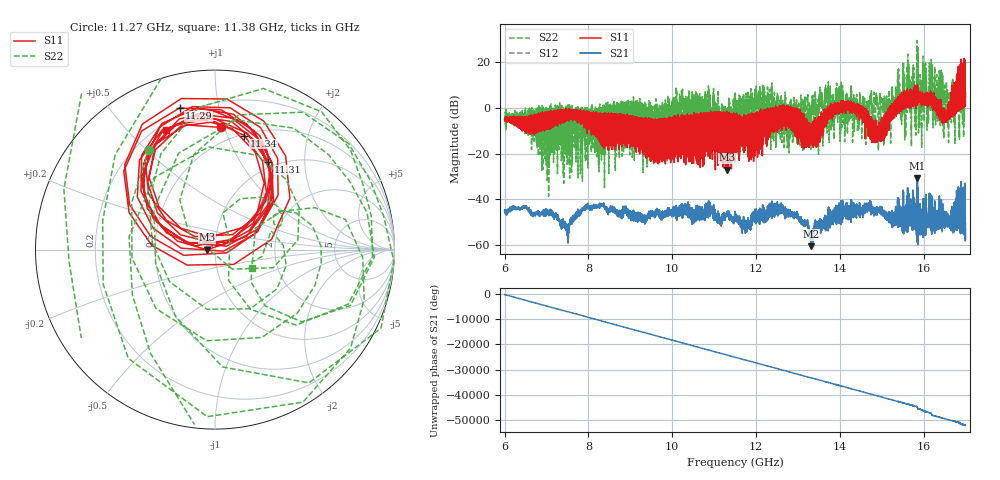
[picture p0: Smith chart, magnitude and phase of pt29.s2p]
#  HZ  S  RI  R  50.00
! Rohde & Schwarz Vector Network Analyzer
! Rohde-Schwarz,ZNA67-2Port,1332450062101215,3.01
! Created: UTC 10/27/2026, 1:50:51 PM
! freq[Hz]  re:S11  im:S11  re:S21  im:S21  re:S12  im:S12  re:S22  im:S22
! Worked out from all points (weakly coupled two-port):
!   11000 points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, 6 GHz to 17 GHz, reference 50 ohm
!   highest |S21| = -30.76 dB at 15.85 GHz (marker M1); lowest = -60.4 dB at 13.31 GHz (marker M2)
!   lowest |S11| = -27.0 dB at 11.32 GHz (marker M3), VSWR 1.09, Z = 45.7 - j0.0846 ohm
!   |S11| at or under -10 dB: 14.87578 GHz to 14.89112 GHz (15.33 MHz wide, 0.103 % of centre); 14.8976 GHz to 14.91292 GHz (15.32 MHz wide, 0.103 % of centre); 14.91646 GHz to 14.92357 GHz (7.11 MHz wide, 0.0477 % of centre) (the widest 3 of 498)
!   |S22| runs from -38.6 to 29.6 dB; largest |S21 - S12| = 0.02
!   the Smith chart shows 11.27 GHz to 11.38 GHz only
!   S11 on the Smith chart (normalised r, x): 11.27 GHz: 0.38, +0.98; 11.29 GHz: 0.16, +0.77; 11.31 GHz: 0.91, +1.33; 11.34 GHz: 0.52, +1.15; 11.38 GHz: 0.23, +0.65
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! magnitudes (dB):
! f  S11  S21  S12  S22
! 6 GHz  -5.0  -44.8  -44.8  -4.4
! 7.088 GHz  -3.1  -46.2  -46.2  -9.0
! 7.49 GHz  -1.4  -51.7  -51.6  -0.3
! 7.834 GHz  -5.2  -45.1  -45.1  -7.4
! 9.667 GHz  -6.1  -44.5  -44.4  -7.8
! 10.52 GHz  -10.5  -46.0  -46.0  -3.9
! 11.27 GHz  -3.3  -47.7  -47.7  -3.5
! 11.29 GHz  -1.8  -46.6  -46.6  -8.2
! 11.31 GHz  -4.9  -45.8  -45.9  -13.2
! 11.32 GHz  -27.0  -46.3  -46.3  -1.7
! 11.34 GHz  -3.7  -46.5  -46.5  -5.3
! 11.38 GHz  -2.8  -47.9  -47.8  -12.8
! 11.5 GHz  -3.0  -49.0  -48.9  1.4
! 12.6 GHz  -8.1  -44.0  -44.0  1.0
! 13.31 GHz  -12.7  -60.4  -60.1  -9.3
! 13.33 GHz  -12.9  -57.3  -57.6  -2.4
! 14.07 GHz  -2.2  -44.9  -44.9  5.8
! 14.87 GHz  -6.5  -44.4  -44.5  6.5
! 15.17 GHz  -3.7  -46.8  -46.8  2.7
! 15.85 GHz  5.7  -30.8  -30.7  29.6
! 16.5 GHz  -1.7  -50.8  -50.7  3.4
! 17 GHz  6.8  -50.6  -51.1  5.9
